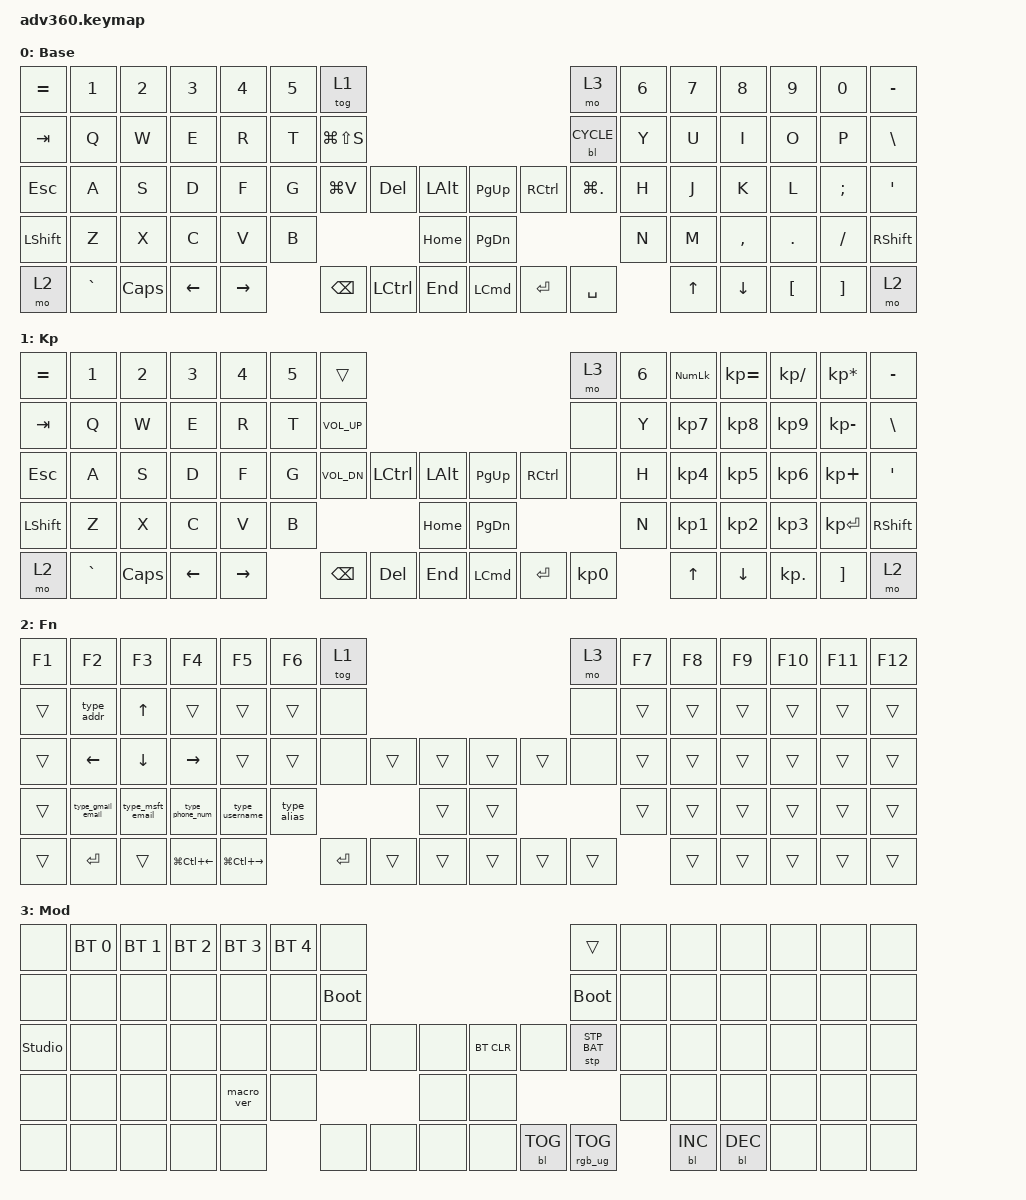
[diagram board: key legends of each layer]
#include <dt-bindings/zmk/stp.h>
#include <behaviors.dtsi>
#include <dt-bindings/zmk/backlight.h>
#include <dt-bindings/zmk/bt.h>
#include <dt-bindings/zmk/keys.h>
#include <dt-bindings/zmk/rgb.h>

/ {
    behaviors {
        #include "macros.dtsi"
      #include "version.dtsi"

        hm: homerow_mods {
            compatible = "zmk,behavior-hold-tap";
            label = "HOMEROW_MODS";
            #binding-cells = <2>;
            tapping-term-ms = <200>;
            quick_tap_ms = <175>;
            flavor = "tap-preferred";
            bindings = <&kp>, <&kp>;
        };
    };

    macros {
        type_gmail_email: type_gmail_email {
            compatible = "zmk,behavior-macro";
            #binding-cells = <0>;
            bindings = <&kp B &kp Y &kp R &kp O &kp N &kp N2 &kp N7 &kp J &kp I &kp N &kp AT &kp G &kp M &kp A &kp I &kp L &kp DOT &kp C &kp O &kp M>;
            label = "TYPE_GMAIL_EMAIL";
        };

        type_msft_email: type_msft_email {
            compatible = "zmk,behavior-macro";
            #binding-cells = <0>;
            bindings = <&kp B &kp Y &kp R &kp O &kp N &kp J &kp I &kp N &kp AT &kp M &kp I &kp C &kp R &kp O &kp S &kp O &kp F &kp T &kp DOT &kp C &kp O &kp M>;
            label = "TYPE_MSFT_EMAIL";
        };

        type_phone_num: type_phone_num {
            compatible = "zmk,behavior-macro";
            #binding-cells = <0>;
            bindings = <&kp N4 &kp N2 &kp N5 &kp N6 &kp N7 &kp N7 &kp N5 &kp N4 &kp N5 &kp N4>;
            label = "TYPE_PHONE_NUM";
        };

        type_username: type_username {
            compatible = "zmk,behavior-macro";
            #binding-cells = <0>;
            bindings = <&kp B &kp Y &kp R &kp O &kp N &kp N2 &kp N7 &kp J &kp I &kp N>;
            label = "TYPE_USERNAME";
        };

        type_alias: type_alias {
            compatible = "zmk,behavior-macro";
            #binding-cells = <0>;
            bindings = <&kp B &kp Y &kp R &kp O &kp N &kp J &kp I &kp N>;
            label = "TYPE_ALIAS";
        };

        type_addr: type_addr {
            compatible = "zmk,behavior-macro";
            #binding-cells = <0>;
            bindings = <&kp N4 &kp N5 &kp N1 &kp N0 &kp SPACE &kp LS(S) &kp O &kp M &kp E &kp R &kp S &kp E &kp T &kp SPACE &kp LS(D) &kp R &kp SPACE &kp LS(S) &kp LS(E) &kp COMMA &kp SPACE &kp LS(B) &kp E &kp L &kp L &kp E &kp V &kp U &kp E &kp COMMA &kp SPACE &kp LS(W) &kp LS(A) &kp SPACE &kp N9 &kp N8 &kp N0 &kp N0 &kp N6>;
            label = "TYPE_ADDR";
        };
    };

    keymap {
        compatible = "zmk,keymap";

        default_layer {
            display-name = "Base";
            bindings = <
&kp EQUAL  &kp N1     &kp N2    &kp N3    &kp N4     &kp N5  &tog 1                                                               &mo 3           &kp N6  &kp N7  &kp N8     &kp N9    &kp N0    &kp MINUS
&kp TAB    &kp Q      &kp W     &kp E     &kp R      &kp T   &kp LG(LS(S))                                                        &bl BL_CYCLE    &kp Y   &kp U   &kp I      &kp O     &kp P     &kp BSLH
&kp ESC    &kp A      &kp S     &kp D     &kp F      &kp G   &kp LG(V)      &kp DEL    &kp LALT      &kp PG_UP         &kp RCTRL  &kp LG(PERIOD)  &kp H   &kp J   &kp K      &kp L     &kp SEMI  &kp SQT
&kp LSHFT  &kp Z      &kp X     &kp C     &kp V      &kp B                             &kp HOME      &kp PG_DN                                    &kp N   &kp M   &kp COMMA  &kp DOT   &kp FSLH  &kp RSHFT
&mo 2      &kp GRAVE  &kp CAPS  &kp LEFT  &kp RIGHT          &kp BSPC       &kp LCTRL  &kp END       &kp LEFT_COMMAND  &kp ENTER  &kp SPACE               &kp UP  &kp DOWN   &kp LBKT  &kp RBKT  &mo 2
            >;
        };

        keypad {
            display-name = "Kp";
            bindings = <
&kp EQUAL  &kp N1     &kp N2    &kp N3    &kp N4     &kp N5  &trans                                                       &mo 3      &kp N6  &kp KP_NUM  &kp KP_EQUAL  &kp KP_DIVIDE  &kp KP_MULTIPLY  &kp MINUS
&kp TAB    &kp Q      &kp W     &kp E     &kp R      &kp T   &kp C_VOL_UP                                                 &none      &kp Y   &kp KP_N7   &kp KP_N8     &kp KP_N9      &kp KP_MINUS     &kp BSLH
&kp ESC    &kp A      &kp S     &kp D     &kp F      &kp G   &kp C_VOL_DN  &kp LCTRL  &kp LALT      &kp PG_UP  &kp RCTRL  &none      &kp H   &kp KP_N4   &kp KP_N5     &kp KP_N6      &kp KP_PLUS      &kp SQT
&kp LSHFT  &kp Z      &kp X     &kp C     &kp V      &kp B                            &kp HOME      &kp PG_DN                        &kp N   &kp KP_N1   &kp KP_N2     &kp KP_N3      &kp KP_ENTER     &kp RSHFT
&mo 2      &kp GRAVE  &kp CAPS  &kp LEFT  &kp RIGHT          &kp BSPC      &kp DEL    &kp END       &kp LCMD   &kp ENTER  &kp KP_N0          &kp UP      &kp DOWN      &kp KP_DOT     &kp RBKT         &mo 2
            >;
        };

        fn {
            display-name = "Fn";
            bindings = <
&kp F1  &kp F2             &kp F3            &kp F4            &kp F5             &kp F6       &tog 1                                         &mo 3   &kp F7  &kp F8  &kp F9  &kp F10  &kp F11  &kp F12
&trans  &type_addr         &kp UP_ARROW      &trans            &trans             &trans       &none                                          &none   &trans  &trans  &trans  &trans   &trans   &trans
&trans  &kp LEFT           &kp DOWN          &kp RIGHT         &trans             &trans       &none      &trans  &trans      &trans  &trans  &none   &trans  &trans  &trans  &trans   &trans   &trans
&trans  &type_gmail_email  &type_msft_email  &type_phone_num   &type_username     &type_alias                     &trans      &trans                  &trans  &trans  &trans  &trans   &trans   &trans
&trans  &kp ENTER          &trans            &kp LG(LC(LEFT))  &kp LG(LC(RIGHT))               &kp ENTER  &trans  &trans      &trans  &trans  &trans          &trans  &trans  &trans   &trans   &trans
            >;
        };

        mod {
            display-name = "Mod";
            bindings = <
&none           &bt BT_SEL 0  &bt BT_SEL 1  &bt BT_SEL 2  &bt BT_SEL 3  &bt BT_SEL 4  &none                                                  &trans           &none  &none       &none       &none  &none  &none
&none           &none         &none         &none         &none         &none         &bootloader                                            &bootloader      &none  &none       &none       &none  &none  &none
&studio_unlock  &none         &none         &none         &none         &none         &none        &none  &none      &bt BT_CLR  &none       &stp STP_BAT     &none  &none       &none       &none  &none  &none
&none           &none         &none         &none         &macro_ver    &none                             &none      &none                                    &none  &none       &none       &none  &none  &none
&none           &none         &none         &none         &none                       &none        &none  &none      &none       &bl BL_TOG  &rgb_ug RGB_TOG         &bl BL_INC  &bl BL_DEC  &none  &none  &none
            >;
        };

        extra1 {
            display-name = "Red";
            status = "reserved";
        };

        extra2 {
            display-name = "Purple";
            status = "reserved";
        };

        extra3 {
            display-name = "Cyan";
            status = "reserved";
        };

        extra4 {
            display-name = "Yellow";
            status = "reserved";
        };
    };
};
